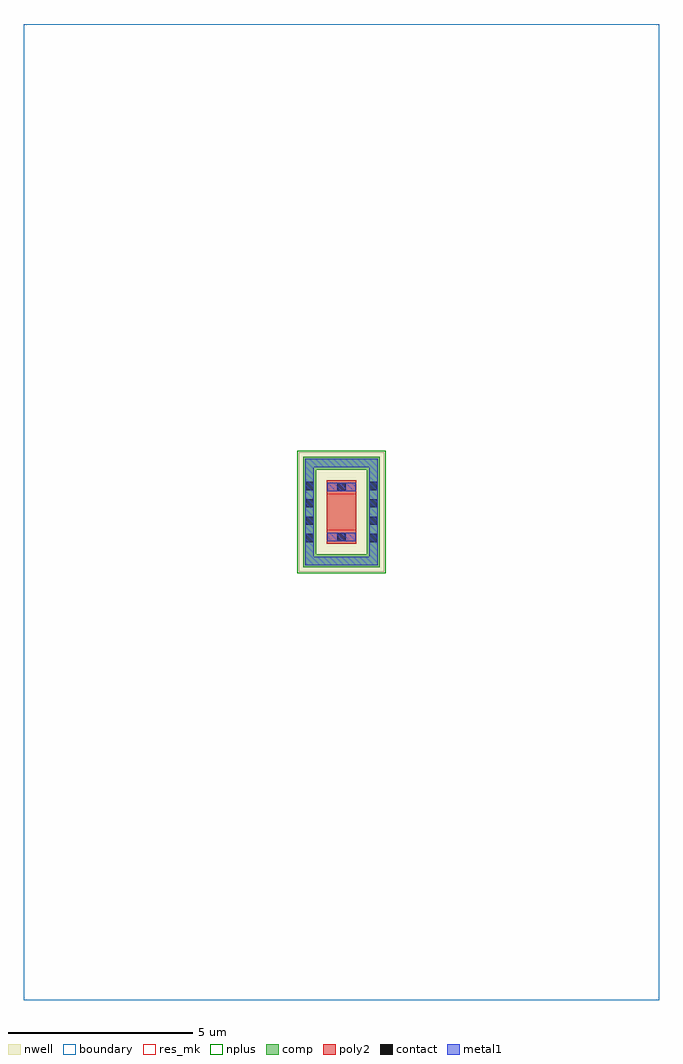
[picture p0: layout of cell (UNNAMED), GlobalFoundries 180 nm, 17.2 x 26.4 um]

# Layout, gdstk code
import gdstk
lib = gdstk.Library(unit=1e-6, precision=1e-09)
def R(c, l, rs):  # rectangles x0, y0, x1, y1
    for r in rs: c.add(gdstk.rectangle(r[:2], r[2:], *l))
def A(c, l, x, y, w, h, nx, ny, dx, dy):  # array of equal rectangles
    R(c, l, [(x+i*dx, y+j*dy, x+i*dx+w, y+j*dy+h) for i in range(nx) for j in range(ny)])
boundary = (0, 0)
nwell = (21, 0)
comp = (22, 0)
poly2 = (30, 0)
nplus = (32, 0)
contact = (33, 0)
metal1 = (34, 0)
res_mk = (110, 5)

c__unnamed_ = lib.new_cell('(UNNAMED)')
R(c__unnamed_, boundary, [(-8.6,-13.2,8.6,13.2)])
R(c__unnamed_, nwell, [(-1.16,-1.62,1.16,1.62)])
R(c__unnamed_, comp, [(-1.04,-1.5,1.04,-1.14), (-1.04,-1.14,-0.68,1.14), (0.68,-1.14,1.04,1.14), (-1.04,1.14,1.04,1.5)])
R(c__unnamed_, poly2, [(-0.4,-0.86,0.4,0.86)])
R(c__unnamed_, nplus, [(-1.2,-1.66,1.2,-1.03), (-0.58,-1.04,0.58,1.04), (-1.2,-1.03,-0.57,1.03), (0.57,-1.03,1.2,1.03), (-1.2,1.03,1.2,1.66)])
A(c__unnamed_, contact, -0.97, -0.815, 0.22, 0.22, 1, 4, 0, 0.47)
A(c__unnamed_, contact, 0.75, -0.815, 0.22, 0.22, 1, 4, 0, 0.47)
R(c__unnamed_, contact, [(-0.11,-0.79,0.11,-0.57), (-0.11,0.57,0.11,0.79)])
R(c__unnamed_, metal1, [(-0.975,-1.435,0.975,-1.205), (-0.975,-1.205,-0.745,1.205), (0.745,-1.205,0.975,1.205), (-0.39,-0.795,0.39,-0.565), (-0.39,0.565,0.39,0.795), (-0.975,1.205,0.975,1.435)])
R(c__unnamed_, res_mk, [(-0.4,-0.5,0.4,0.5)])

lib.write_gds('_UNNAMED_.gds')
